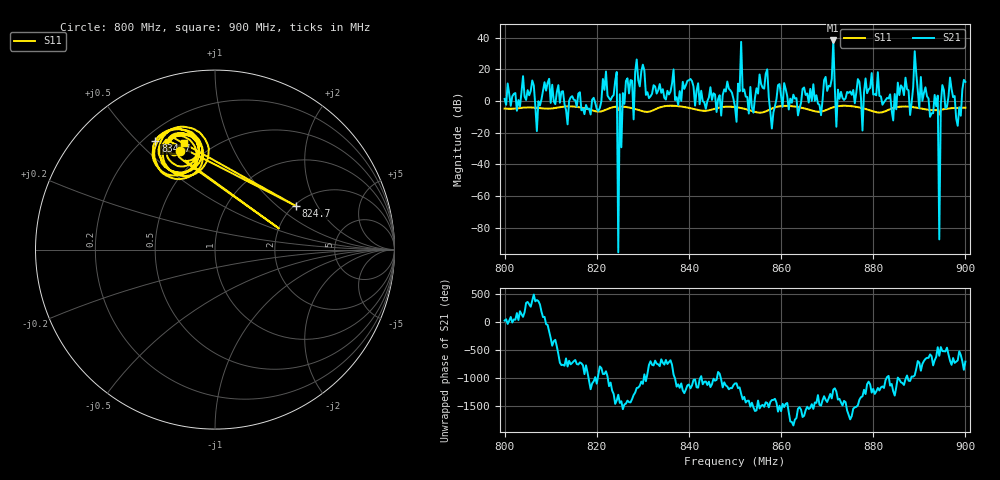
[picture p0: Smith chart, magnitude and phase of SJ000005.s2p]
!File created by NanoVNA-F V2
# Hz S RI R 50
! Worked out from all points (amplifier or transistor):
!   301 points, 800 MHz to 900 MHz, reference 50 ohm
!   highest |S21| = 38.3 dB at 871.3 MHz (marker M1)
!   |S21| within 3 dB of that: 851.3107 MHz to 851.3559 MHz (45.15 kHz wide, 0.0053 % of centre)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
!   S11 on the Smith chart (normalised r, x): 800 MHz: 0.38, +0.63; 824.7 MHz: 2.06, +1.35; 834.7 MHz: 0.25, +0.56; 900 MHz: 0.36, +0.69
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8e8  -0.1974 0.5476  1.008 0.5991  0 0  0 0
8.166666e8  -0.1135 0.6119  0.5026 -0.1044  0 0  0 0
8.246666e8  0.453 0.242  -1.4e-05 9e-06  0 0  0 0
8.276666e8  -0.1193 0.5852  1.474 4.153  0 0  0 0
8.286666e8  -0.1027 0.5342  -0.894 -20.65  0 0  0 0
8.296666e8  -0.1142 0.477  7.97 3.391  0 0  0 0
8.333333e8  -0.3425 0.4987  1.886 -1.113  0 0  0 0
8.346666e8  -0.3324 0.6031  1.04 -0.73  0 0  0 0
8.5e8  -0.1382 0.6325  0.6395 -0.124  0 0  0 0
8.509999e8  -0.0999 0.6091  0.3301 -2.009  0 0  0 0
8.513333e8  -0.091 0.5972  -71.92 19.5  0 0  0 0
8.516666e8  -0.082 0.5843  0.8272 1.864  0 0  0 0
8.666666e8  -0.0805 0.4984  0.9443 -0.3615  0 0  0 0
8.709999e8  -0.3129 0.5316  0.6425 4.98  0 0  0 0
8.713333e8  -0.3149 0.557  -42.13 -70.91  0 0  0 0
8.716666e8  -0.3086 0.584  -0.3535 -2.574  0 0  0 0
8.723333e8  -0.2898 0.6275  1.14 1.999  0 0  0 0
8.833332e8  -0.2653 0.4597  -0.6793 1.01  0 0  0 0
8.883332e8  -0.1413 0.6367  -0.3316 0.8321  0 0  0 0
8.889999e8  -0.1177 0.6218  -25.22 28.02  0 0  0 0
8.893332e8  -0.1083 0.6131  -2.974 -6.989  0 0  0 0
8.999999e8  -0.1705 0.5938  3.812 1.369  0 0  0 0
